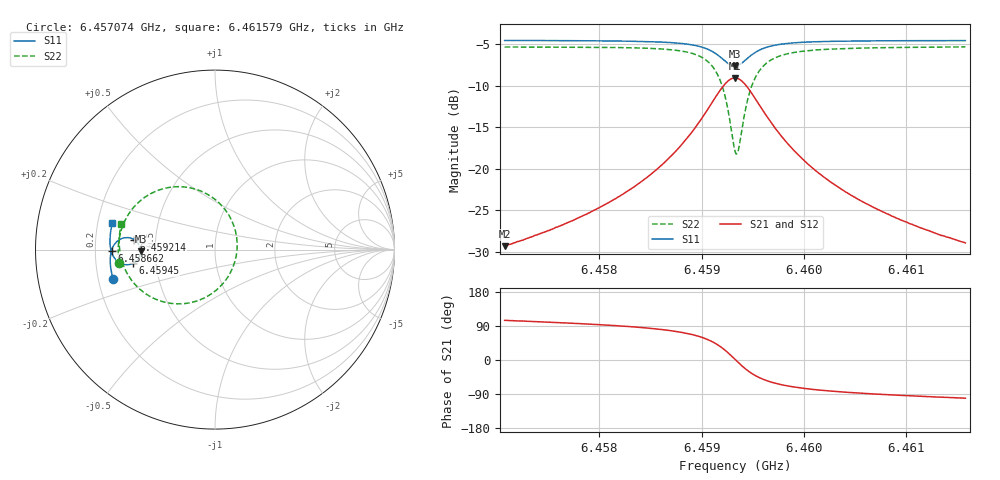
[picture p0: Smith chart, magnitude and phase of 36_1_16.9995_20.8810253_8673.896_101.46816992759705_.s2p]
#  HZ  S  RI  R  50.00
! Rohde & Schwarz Vector Network Analyzer
! Rohde-Schwarz,ZNB20-2Port,1311601062101988,3.16
! Created: UTC 3/20/2024, 10:53:41 PM
! freq[Hz]  re:S11  im:S11  re:S21  im:S21  re:S12  im:S12  re:S22  im:S22
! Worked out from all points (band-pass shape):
!   401 points, 6.457074 GHz to 6.461579 GHz, reference 50 ohm
!   highest |S21| = -9.06 dB at 6.459326 GHz (marker M1); lowest = -29.3 dB at 6.457074 GHz (marker M2)
!   |S21| within 3 dB of the highest: 6.4591 GHz to 6.459551 GHz (450.6 kHz wide, 0.00698 % of centre)
!   lowest |S11| = -7.7 dB at 6.459326 GHz (marker M3), VSWR 2.41, Z = 20.7 - j0.471 ohm
!   |S11| at or under -10 dB: nowhere
!   |S22| runs from -18.2 to -5.3 dB; largest |S21 - S12| = 0.014
!   S11 on the Smith chart (normalised r, x): 6.457074 GHz: 0.26, -0.13; 6.458662 GHz: 0.27, -0.00; 6.459214 GHz: 0.38, +0.05; 6.45945 GHz: 0.37, -0.07; 6.461579 GHz: 0.26, +0.12
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6.4570736e9  -0.5682 -0.1661  -0.00866 0.0331  -0.00689 0.0332  -0.5351 -0.0753
6.4578282e9  -0.5812 -0.0995  -0.00509 0.0515  -0.00257 0.0509  -0.5389 0.0143
6.4582112e9  -0.5837 -0.0612  0.000369 0.0693  0.00356 0.0679  -0.5308 0.0755
6.4585829e9  -0.5794 -0.0165  0.0156 0.1006  0.0195 0.0978  -0.5026 0.1596
6.4586618e9  -0.5764 -0.00542  0.0221 0.1107  0.0262 0.1074  -0.4901 0.1833
6.4588533e9  -0.5627 0.0254  0.0508 0.1428  0.0549 0.1375  -0.436 0.2538
6.4589884e9  -0.5405 0.0498  0.095 0.1712  0.0982 0.1645  -0.3545 0.3135
6.4591236e9  -0.4957 0.0669  0.1844 0.1871  0.1852 0.1797  -0.1913 0.3503
6.4592137e9  -0.4501 0.0557  0.2756 0.154  0.2761 0.1483  -0.022 0.2958
6.4592813e9  -0.4209 0.0223  0.3364 0.0797  0.3388 0.0744  0.0933 0.1614
6.4593264e9  -0.4142 -0.00943  0.3521 0.0104  0.356 0.00325  0.1236 0.0313
6.4593601e9  -0.4184 -0.0337  0.3454 -0.0429  0.3495 -0.0524  0.1099 -0.0696
6.4594052e9  -0.4347 -0.0601  0.3154 -0.1033  0.3178 -0.1157  0.0492 -0.1836
6.4594503e9  -0.4572 -0.0766  0.2722 -0.1445  0.2712 -0.158  -0.0386 -0.2583
6.4595404e9  -0.5014 -0.0835  0.1859 -0.1749  0.1794 -0.1867  -0.2109 -0.3022
6.4596079e9  -0.5261 -0.076  0.1368 -0.1724  0.1286 -0.1815  -0.3051 -0.2858
6.4596868e9  -0.5459 -0.0628  0.0967 -0.16  0.0881 -0.1663  -0.3798 -0.2501
6.4598445e9  -0.5676 -0.0352  0.0514 -0.1313  0.0437 -0.1341  -0.4605 -0.1764
6.460081e9  -0.5806 0.000363  0.0221 -0.099  0.0161 -0.0996  -0.5082 -0.0927
6.460419e9  -0.5852 0.0411  0.00611 -0.0717  0.00194 -0.0712  -0.5295 -0.013
6.4608357e9  -0.5834 0.0834  -0.0016 -0.0528  -0.00433 -0.0519  -0.5335 0.055
6.4615791e9  -0.5717 0.1496  -0.00673 -0.0351  -0.0084 -0.0343  -0.522 0.1439
